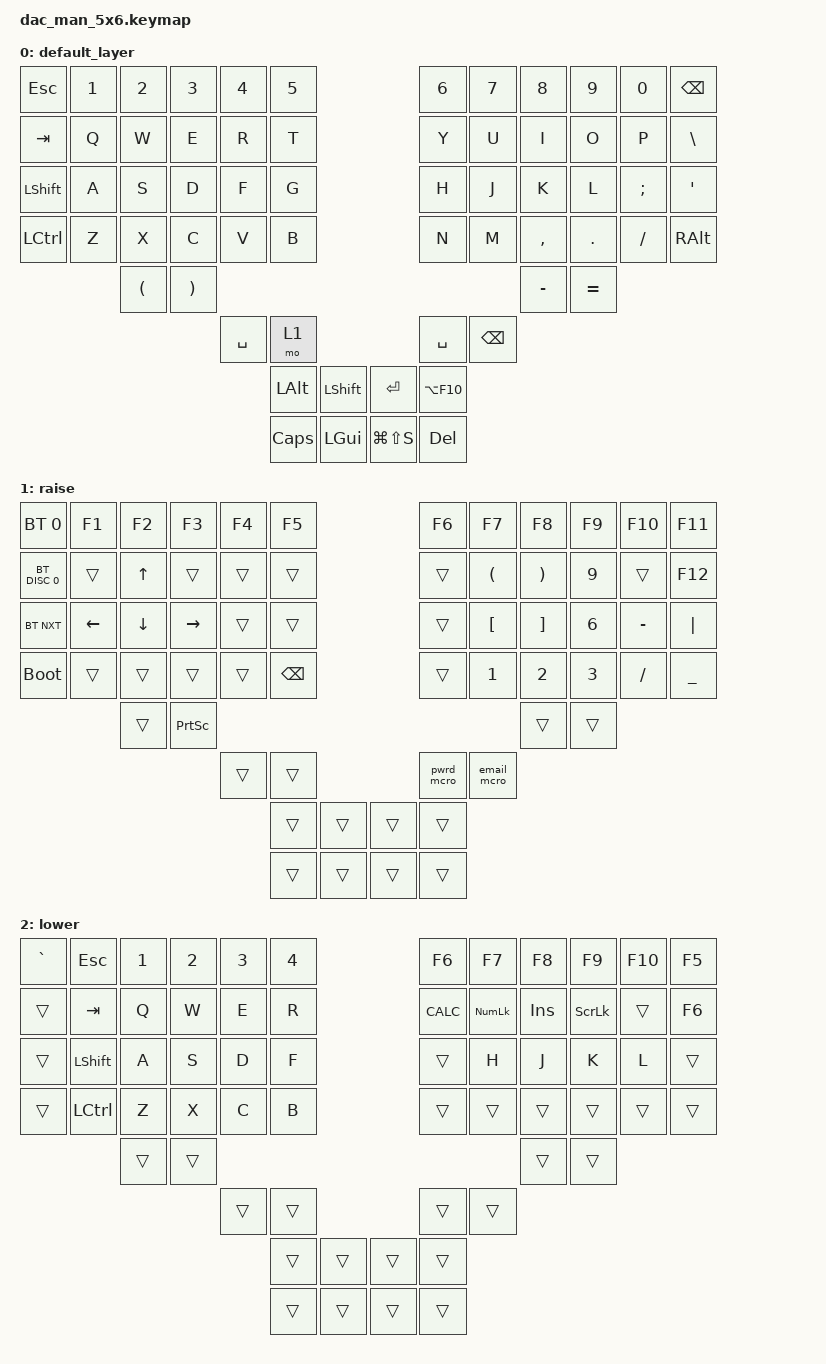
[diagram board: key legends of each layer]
#include <behaviors.dtsi>
#include <dt-bindings/zmk/bt.h>
#include <dt-bindings/zmk/keys.h>

#define DEFAULT 0
#define RAISE   1
#define LOWER   2

/ {
    macros {
        pwrd_mcro: new_macro {
            compatible = "zmk,behavior-macro";
            #binding-cells = <0>;
            bindings = <&kp J &kp N4 &kp LS(E) &kp LS(Q) &kp H &kp N7 &kp N6 &kp G &kp G &kp B &kp N2 &kp D>;
            label = "NEW_MACRO";
        };

        email_mcro: email_mcro {
            compatible = "zmk,behavior-macro";
            #binding-cells = <0>;
            bindings = <&kp J &kp A &kp N &kp P &kp E &kp T &kp E &kp R &kp N &kp E &kp R &kp Y &kp AT &kp G &kp M &kp A &kp I &kp L &kp DOT &kp C &kp O &kp M>;
            label = "EMAIL_MCRO";
        };
    };

    keymap {
        compatible = "zmk,keymap";

        default_layer {
            // Commented layout is not actual layout.
            // -------------------------------------------------------------------------------------------------------------------------
            // |   ESC   |    1    |    2    |    3    |    4    |    5    |                   |    6    |    7    |    8    |    9    |    0    |  BSPC   |
            // |   TAB   |    Q    |    W    |    E    |    R    |    T    |                   |    Y    |    U    |    I    |    O    |    P    |    \    |
            // |  LALT   |    A    |    S    |    D    |    F    |    G    |                   |    H    |    J    |    K    |    L    |    ;    |    '    |
            // |  LCTRL  |    Z    |    X    |    C    |    V    |    B    |                   |    N    |    M    |    ,    |    .    |    /    |  RALT   |
            //                     |    [    |    ]    |                                                           |    -    |    =    |
            //                               | MO lay 1| SPACE   |                   | ENTER   | MO lay 2|
            //                                         |   TAB   |   HOME  |   END   |   DEL   |
            //                                         |  Raise  |    ~    |   GUI   |  Lower  |

            bindings = <
&kp ESC         &kp N1  &kp N2                &kp N3                 &kp N4     &kp N5                                     &kp N6       &kp N7         &kp N8     &kp N9     &kp N0         &kp BSPC
&kp TAB         &kp Q   &kp W                 &kp E                  &kp R      &kp T                                      &kp Y        &kp U          &kp I      &kp O      &kp P          &kp BSLH
&kp LEFT_SHIFT  &kp A   &kp S                 &kp D                  &kp F      &kp G                                      &kp H        &kp J          &kp K      &kp L      &kp SEMICOLON  &kp SQT
&kp LCTRL       &kp Z   &kp X                 &kp C                  &kp V      &kp B                                      &kp N        &kp M          &kp COMMA  &kp DOT    &kp FSLH       &kp RALT
                        &kp LEFT_PARENTHESIS  &kp RIGHT_PARENTHESIS                                                                                    &kp MINUS  &kp EQUAL
                                                                     &kp SPACE  &mo 1                                      &kp SPACE    &kp BACKSPACE
                                                                                &kp LEFT_ALT  &kp LSHIFT    &kp ENTER      &kp LA(F10)
                                                                                &kp CAPS      &kp LEFT_GUI  &kp LG(LS(S))  &kp DEL
            >;
        };

        raise {
            // commented layout is not actual layout.
            // -------------------------------------------------------------------------------------------------------------------------
            // |   esc   |    1    |    2    |    3    |    4    |    5    |                   |    6    |    7    |    8    |    9    |    0    |  bspc   |
            // |   tab   |    q    |    w    |    e    |    r    |    t    |                   |    y    |    u    |    i    |    o    |    p    |    \    |
            // |  lalt   |    a    |    s    |    d    |    f    |    g    |                   |    h    |    j    |    k    |    l    |    ;    |    '    |
            // |  lctrl  |    z    |    x    |    c    |    v    |    b    |                   |    n    |    m    |    ,    |    .    |    /    |  ralt   |
            //                     |    [    |    ]    |                                                           |    -    |    =    |
            //                               | mo lay 1| space   |                   | enter   | mo lay 2|
            //                                         |   tab   |   home  |   end   |   del   |
            //                                         |  raise  |    ~    |   gui   |  lower  |

            bindings = <
&bt BT_SEL 0   &kp F1    &kp F2    &kp F3     &kp F4  &kp F5                         &kp F6      &kp F7                &kp F8                 &kp F9  &kp F10    &kp F11
&bt BT_DISC 0  &trans    &kp UP    &trans     &trans  &trans                         &trans      &kp LEFT_PARENTHESIS  &kp RIGHT_PARENTHESIS  &kp 9   &trans     &kp F12
&bt BT_NXT     &kp LEFT  &kp DOWN  &kp RIGHT  &trans  &trans                         &trans      &kp LEFT_BRACKET      &kp RIGHT_BRACKET      &kp 6   &kp MINUS  &kp PIPE
&bootloader    &trans    &trans    &trans     &trans  &kp BACKSPACE                  &trans      &kp 1                 &kp 2                  &kp 3   &kp FSLH   &kp UNDER
                         &trans    &kp PSCRN                                                                           &trans                 &trans
                                              &trans  &trans                         &pwrd_mcro  &email_mcro
                                                      &trans         &trans  &trans  &trans
                                                      &trans         &trans  &trans  &trans
            >;
        };

        lower {
            // commented layout is not actual layout.
            // -------------------------------------------------------------------------------------------------------------------------
            // |   esc   |    1    |    2    |    3    |    4    |    5    |                   |    6    |    7    |    8    |    9    |    0    |  bspc   |
            // |   tab   |    q    |    w    |    e    |    r    |    t    |                   |    y    |    u    |    i    |    o    |    p    |    \    |
            // |  lalt   |    a    |    s    |    d    |    f    |    g    |                   |    h    |    j    |    k    |    l    |    ;    |    '    |
            // |  lctrl  |    z    |    x    |    c    |    v    |    b    |                   |    n    |    m    |    ,    |    .    |    /    |  ralt   |
            //                     |    [    |    ]    |                                                           |    -    |    =    |
            //                               | mo lay 1| space   |                   | enter   | mo lay 2|
            //                                         |   tab   |   home  |   end   |   del   |
            //                                         |  raise  |    ~    |   gui   |  lower  |

            bindings = <
&kp GRAVE  &kp ESCAPE        &kp NUMBER_1  &kp NUMBER_2  &kp NUMBER_3  &kp NUMBER_4                  &kp F6      &kp F7      &kp F8   &kp F9    &kp F10  &kp F5
&trans     &kp TAB           &kp Q         &kp W         &kp E         &kp R                         &kp K_CALC  &kp KP_NUM  &kp INS  &kp SLCK  &trans   &kp F6
&trans     &kp LEFT_SHIFT    &kp A         &kp S         &kp D         &kp F                         &trans      &kp H       &kp J    &kp K     &kp L    &trans
&trans     &kp LEFT_CONTROL  &kp Z         &kp X         &kp C         &kp B                         &trans      &trans      &trans   &trans    &trans   &trans
                             &trans        &trans                                                                            &trans   &trans
                                                         &trans        &trans                        &trans      &trans
                                                                       &trans        &trans  &trans  &trans
                                                                       &trans        &trans  &trans  &trans
            >;
        };
    };
};
